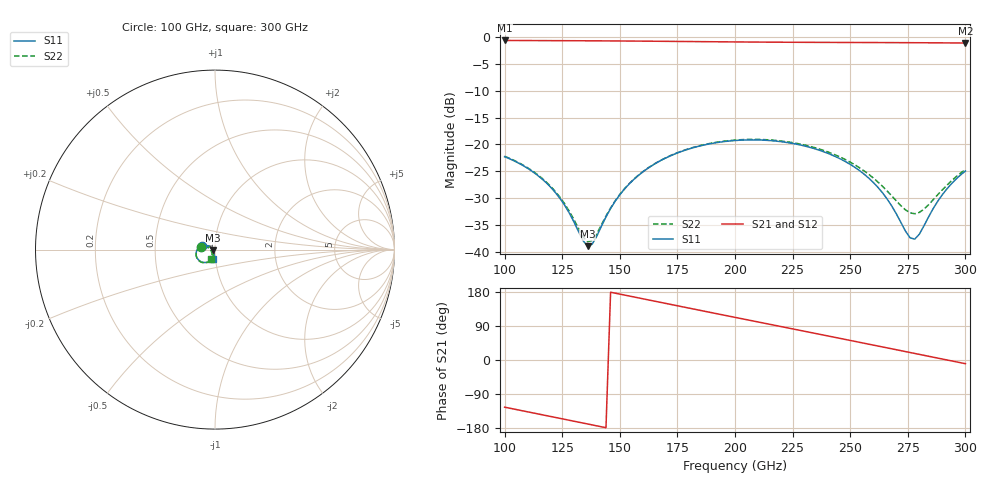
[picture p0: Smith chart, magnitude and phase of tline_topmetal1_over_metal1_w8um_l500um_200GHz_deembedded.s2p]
! Created with skrf 2.2.0 (http://scikit-rf.org).
# GHz S DB R 50.0
! Port[1] = P1
! Port[2] = P2
!freq dBS11 angS11 dBS21 angS21 dBS12 angS12 dBS22 angS22
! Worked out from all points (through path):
!   101 points, 100 GHz to 300 GHz, reference 50 ohm
!   highest |S21| = -0.65 dB at 100 GHz (marker M1); lowest = -1.1 dB at 300 GHz (marker M2)
!   group delay of S21, straight-line fit = 3.4 ps
!   lowest |S11| = -39.0 dB at 136 GHz (marker M3), VSWR 1.02, Z = 48.9 - j0.311 ohm
!   |S11| at or under -10 dB: start of sweep to end of sweep
!   |S22| runs from -38.1 to -19.1 dB; largest |S21 - S12| = 1.1e-14
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100  -22.30 166.3  -0.65 -124.5  -0.65 -124.5  -22.22 167.7
112  -25.04 154.3  -0.67 -139.2  -0.67 -139.2  -24.93 156.1
120  -27.99 149.1  -0.68 -149.1  -0.68 -149.1  -27.83 151.3
126  -31.30 149.6  -0.69 -156.5  -0.69 -156.5  -31.04 152.3
134  -37.91 177.0  -0.71 -166.3  -0.71 -166.3  -37.18 179.0
136  -38.97 -163.6  -0.71 -168.8  -0.71 -168.8  -38.15 -163.3
138  -38.62 -142.1  -0.71 -171.3  -0.71 -171.3  -37.93 -143.7
146  -31.96 -105.7  -0.73 178.8  -0.73 178.8  -31.85 -106.8
152  -28.35 -103.8  -0.75 171.4  -0.75 171.4  -28.29 -103.9
168  -22.96 -115.2  -0.80 151.7  -0.80 151.7  -22.92 -114.3
184  -20.38 -131.8  -0.86 132.1  -0.86 132.1  -20.32 -130.2
200  -19.29 -149.3  -0.92 112.5  -0.92 112.5  -19.21 -147.1
216  -19.32 -166.9  -0.96 93.1  -0.96 93.1  -19.20 -163.8
234  -20.75 174.0  -1.00 71.2  -1.00 71.2  -20.54 178.5
254  -24.88 156.1  -1.03 46.7  -1.03 46.7  -24.35 164.1
262  -27.99 152.7  -1.04 36.9  -1.04 36.9  -27.00 163.5
268  -31.46 155.8  -1.05 29.6  -1.05 29.6  -29.59 169.2
276  -37.41 -167.8  -1.06 19.8  -1.06 19.8  -32.76 -164.2
278  -37.66 -148.3  -1.07 17.3  -1.07 17.3  -32.93 -153.9
282  -35.19 -117.9  -1.08 12.4  -1.08 12.4  -32.09 -134.7
290  -29.37 -101.3  -1.10 2.5  -1.10 2.5  -28.46 -115.3
300  -24.97 -103.6  -1.12 -9.7  -1.12 -9.7  -24.69 -112.6
